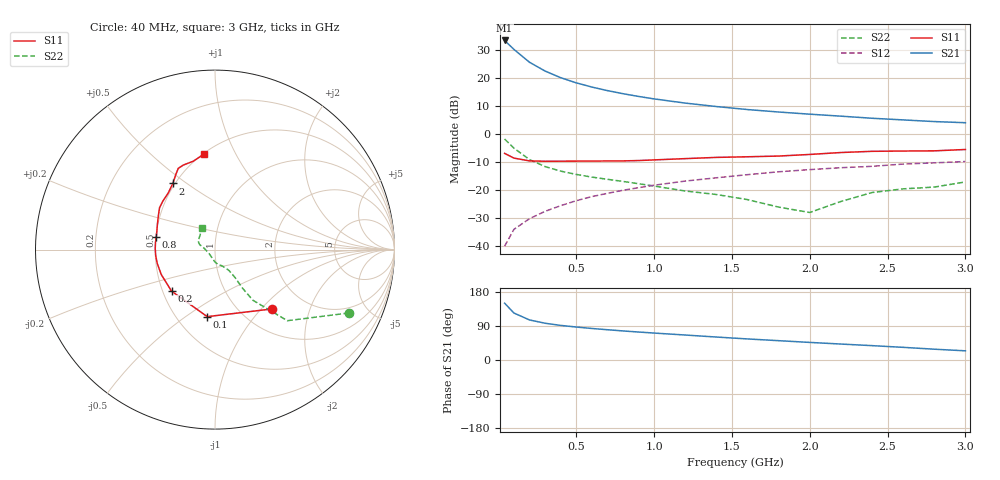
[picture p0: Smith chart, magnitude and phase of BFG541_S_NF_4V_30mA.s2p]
! Filename:  BFG541D.S2P  Version:  3.0
! Philips part #: BFG541  Date: Feb 1992
! Bias condition: Vce=4V, Ic=30mA
#  MHz  S  MA  R  50
! Freq  S11  S21  S12  S22  !GUM [dB]
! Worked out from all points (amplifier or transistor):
!   21 points, 40 MHz to 3 GHz, reference 50 ohm
!   highest |S21| = 33.6 dB at 40 MHz (marker M1)
!   |S21| within 3 dB of that: start of sweep to 96.07 MHz
!   unconditionally stable (mu >= 1): 479.1 MHz to 2.934 GHz
!   at 300 MHz: K = 0.93, MSG = 25.1 dB, |S12| = -27.5 dB
!   at 1 GHz: K = 1.05, MAG = 14.1 dB, |S12| = -18.2 dB
!   at 3 GHz: K = 0.99, MSG = 6.9 dB, |S12| = -9.7 dB
!   lowest NFmin = 1.70 dB at 900 MHz
!   S11 on the Smith chart (normalised r, x): 40 MHz: 1.37, -1.14; 100 MHz: 0.70, -0.61; 200 MHz: 0.56, -0.29; 800 MHz: 0.50, +0.08; 2 GHz: 0.49, +0.44; 3 GHz: 0.51, +0.76
40  0.457 -46.4  47.78 150.0  0.01 75.0  0.826 -25.3
100  0.376 -96.6  33.02 123.9  0.02 66.3  0.565 -44.5
200  0.335 -136.3  19.47 105.7  0.031 67.5  0.354 -53.1
300  0.33 -155.1  13.55 97.0  0.042 69.5  0.265 -54.5
400  0.331 -166.6  10.32 91.3  0.053 70.9  0.22 -54.4
500  0.332 -174.6  8.344 87.0  0.065 71.5  0.192 -54.4
600  0.333 179.1  7.019 83.2  0.077 71.5  0.172 -54.8
700  0.334 173.1  6.06 79.9  0.088 71.4  0.157 -55.4
800  0.335 167.5  5.339 76.7  0.1 70.7  0.144 -56.0
900  0.34 162.0  4.768 73.8  0.111 70.0  0.131 -57.5
1000  0.349 157.1  4.307 71.1  0.123 69.3  0.119 -59.9
1200  0.368 149.0  3.622 65.9  0.146 67.2  0.097 -67.4
1400  0.387 143.0  3.143 60.6  0.167 64.9  0.084 -79.1
1600  0.397 136.9  2.776 55.6  0.19 63.2  0.068 -90.8
1800  0.409 129.6  2.509 51.0  0.214 59.8  0.05 -107.7
2000  0.437 122.5  2.294 46.4  0.234 57.6  0.04 -151.8
2200  0.473 117.4  2.115 42.1  0.253 54.9  0.063 171.6
2400  0.497 114.3  1.94 37.9  0.268 53.4  0.091 161.5
2600  0.503 110.5  1.813 33.4  0.294 49.8  0.106 152.7
2800  0.507 103.9  1.692 28.5  0.309 45.8  0.114 137.5
3000  0.536 96.4  1.615 24.2  0.327 43.8  0.141 120.8
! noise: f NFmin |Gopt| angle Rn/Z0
900  1.7  0.402  -172  0.08
2000  2.4  0.581  -134  0.21
